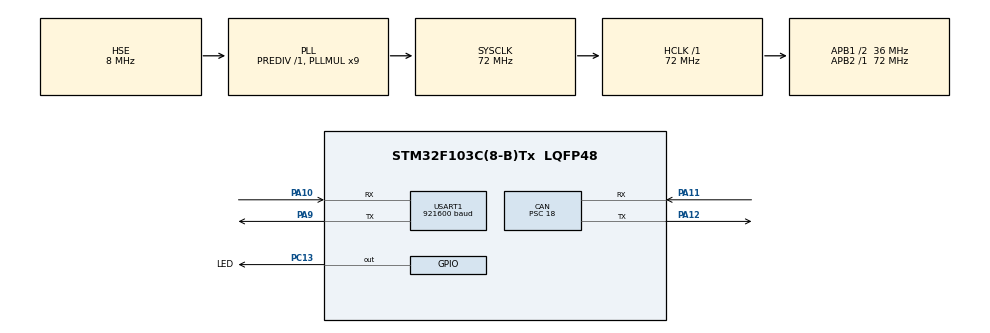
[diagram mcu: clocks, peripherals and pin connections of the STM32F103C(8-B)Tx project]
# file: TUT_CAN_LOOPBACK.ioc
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CAN.BS1=CAN_BS1_2TQ
CAN.CalculateBaudRate=500000
CAN.CalculateTimeBit=2000
CAN.CalculateTimeQuantum=500.0
CAN.Mode=CAN_MODE_LOOPBACK
CAN.Prescaler=18
Mcu.Family=STM32F1
Mcu.Name=STM32F103C(8-B)Tx
Mcu.Package=LQFP48
NVIC.CAN1_RX1_IRQn=true\:0\:0\:false\:false\:true\:true\:true\:true
NVIC.PriorityGroup=NVIC_PRIORITYGROUP_4
NVIC.USB_LP_CAN1_RX0_IRQn=true\:0\:0\:false\:false\:true\:true\:true\:true
PA10.Mode=Asynchronous
PA10.Signal=USART1_RX
PA11.Mode=CAN_Activate
PA11.Signal=CAN_RX
PA12.Mode=CAN_Activate
PA12.Signal=CAN_TX
PA13.Mode=Serial_Wire
PA13.Signal=SYS_JTMS-SWDIO
PA14.Mode=Serial_Wire
PA14.Signal=SYS_JTCK-SWCLK
PA9.Mode=Asynchronous
PA9.Signal=USART1_TX
PC13-TAMPER-RTC.GPIO_Label=LED
PC13-TAMPER-RTC.Signal=GPIO_Output
PD0-OSC_IN.Mode=HSE-External-Oscillator
PD0-OSC_IN.Signal=RCC_OSC_IN
PD1-OSC_OUT.Mode=HSE-External-Oscillator
PD1-OSC_OUT.Signal=RCC_OSC_OUT
ProjectManager.HeapSize=0x200
ProjectManager.StackSize=0x400
ProjectManager.TargetToolchain=STM32CubeIDE
RCC.AHBFreq_Value=72000000
RCC.APB1CLKDivider=RCC_HCLK_DIV2
RCC.APB1Freq_Value=36000000
RCC.APB1TimFreq_Value=72000000
RCC.APB2Freq_Value=72000000
RCC.APB2TimFreq_Value=72000000
RCC.HCLKFreq_Value=72000000
RCC.PLLMUL=RCC_PLL_MUL9
RCC.PLLSourceVirtual=RCC_PLLSOURCE_HSE
RCC.SYSCLKFreq_VALUE=72000000
RCC.SYSCLKSource=RCC_SYSCLKSOURCE_PLLCLK
RCC.USBFreq_Value=72000000
USART1.BaudRate=921600
USART1.VirtualMode=VM_ASYNC
board=custom

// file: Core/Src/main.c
/* USER CODE BEGIN Header */
/**
  ******************************************************************************
  * @file           : main.c
  * @brief          : Main program body
  ******************************************************************************
  * @attention
  *
  * <h2><center>&copy; Copyright (c) 2021 STMicroelectronics.
  * All rights reserved.</center></h2>
  *
  * This software component is licensed by ST under BSD 3-Clause license,
  * the "License"; You may not use this file except in compliance with the
  * License. You may obtain a copy of the License at:
  *                        opensource.org/licenses/BSD-3-Clause
  *
  ******************************************************************************
  */
/* USER CODE END Header */
#include "main.h"

CAN_HandleTypeDef hcan;

UART_HandleTypeDef huart1;

/* USER CODE BEGIN PV */

CAN_TxHeaderTypeDef TxHeader;
CAN_RxHeaderTypeDef RxHeader;

uint32_t TxMailbox[4];

uint8_t TxData[8];
uint8_t RxData[8];

uint8_t count = 0;

/* USER CODE END PV */

void SystemClock_Config(void);
static void MX_GPIO_Init(void);
static void MX_CAN_Init(void);
static void MX_USART1_UART_Init(void);

/* USER CODE BEGIN 0 */

// Send printf to uart1
int _write(int fd, char* ptr, int len) {
  HAL_StatusTypeDef hstatus;

  if (fd == 1 || fd == 2) {
    hstatus = HAL_UART_Transmit(&huart1, (uint8_t *) ptr, len, HAL_MAX_DELAY);
    if (hstatus == HAL_OK)
      return len;
    else
      return -1;
  }
  return -1;
}

void HAL_CAN_RxFifo0MsgPendingCallback(CAN_HandleTypeDef *hcan)
{
    DBG("RxFifo0 Message Pending Callback");
	if (HAL_CAN_GetRxMessage(hcan, CAN_RX_FIFO0, &RxHeader, RxData) == HAL_OK) {
	    DBG("Got message - id = 0x%04lx len = 0x%lx", RxHeader.StdId, RxHeader.DLC);
	}
	count++;
}
/* USER CODE END 0 */

int main(void)
{

  /* MCU Configuration--------------------------------------------------------*/

  /* Reset of all peripherals, Initializes the Flash interface and the Systick. */
  HAL_Init();

  /* Configure the system clock */
  SystemClock_Config();

  /* Initialize all configured peripherals */
  MX_GPIO_Init();
  MX_CAN_Init();
  MX_USART1_UART_Init();
  /* USER CODE BEGIN 2 */

  DBG("\n\n\n--------\nStarting");

  HAL_CAN_Start(&hcan);

  HAL_CAN_ActivateNotification(&hcan, CAN_IT_RX_FIFO0_MSG_PENDING);

  TxHeader.DLC = 1;
  TxHeader.ExtId = 0;
  TxHeader.IDE = CAN_ID_STD;
  TxHeader.RTR = CAN_RTR_DATA;
  TxHeader.StdId = 0x101;
  TxHeader.TransmitGlobalTime = DISABLE;

  TxData[0] = 0x01;
  TxData[1] = 0x02;
  TxData[2] = 0x03;
  TxData[3] = 0x04;

  if (HAL_CAN_AddTxMessage(&hcan, &TxHeader, &TxData[0], &TxMailbox[0]) != HAL_OK)
  {
	  Error_Handler();
  }
  if (HAL_CAN_AddTxMessage(&hcan, &TxHeader, &TxData[1], &TxMailbox[1]) != HAL_OK)
  {
	  Error_Handler();
  }
  if (HAL_CAN_AddTxMessage(&hcan, &TxHeader, &TxData[2], &TxMailbox[2]) != HAL_OK)
  {
	  Error_Handler();
  }
//
//  if (HAL_CAN_AddTxMessage(&hcan, &TxHeader, &TxData[3], &TxMailbox[3]) != HAL_OK)
//  {
//	  Error_Handler();
//  }

  /* USER CODE END 2 */

  /* Infinite loop */
  /* USER CODE BEGIN WHILE */

  uint32_t now = 0, last_blink = 0, last_msg = 0;

  while (1)
  {

      now = HAL_GetTick();

      if (now - last_blink >= 500) {
          HAL_GPIO_TogglePin(LED_GPIO_Port, LED_Pin);
          last_blink = now;
      }

      if (now - last_msg >= 250) {

          last_msg = now;
      }

    /* USER CODE END WHILE */

  }
}

void SystemClock_Config(void)
{
  RCC_OscInitTypeDef RCC_OscInitStruct = {0};
  RCC_ClkInitTypeDef RCC_ClkInitStruct = {0};

  /** Initializes the RCC Oscillators according to the specified parameters
  * in the RCC_OscInitTypeDef structure.
  */
  RCC_OscInitStruct.OscillatorType = RCC_OSCILLATORTYPE_HSE;
  RCC_OscInitStruct.HSEState = RCC_HSE_ON;
  RCC_OscInitStruct.HSEPredivValue = RCC_HSE_PREDIV_DIV1;
  RCC_OscInitStruct.HSIState = RCC_HSI_ON;
  RCC_OscInitStruct.PLL.PLLState = RCC_PLL_ON;
  RCC_OscInitStruct.PLL.PLLSource = RCC_PLLSOURCE_HSE;
  RCC_OscInitStruct.PLL.PLLMUL = RCC_PLL_MUL9;
  if (HAL_RCC_OscConfig(&RCC_OscInitStruct) != HAL_OK)
  {
    Error_Handler();
  }

  /** Initializes the CPU, AHB and APB buses clocks
  */
  RCC_ClkInitStruct.ClockType = RCC_CLOCKTYPE_HCLK|RCC_CLOCKTYPE_SYSCLK
                              |RCC_CLOCKTYPE_PCLK1|RCC_CLOCKTYPE_PCLK2;
  RCC_ClkInitStruct.SYSCLKSource = RCC_SYSCLKSOURCE_PLLCLK;
  RCC_ClkInitStruct.AHBCLKDivider = RCC_SYSCLK_DIV1;
  RCC_ClkInitStruct.APB1CLKDivider = RCC_HCLK_DIV2;
  RCC_ClkInitStruct.APB2CLKDivider = RCC_HCLK_DIV1;

  if (HAL_RCC_ClockConfig(&RCC_ClkInitStruct, FLASH_LATENCY_2) != HAL_OK)
  {
    Error_Handler();
  }
}

static void MX_CAN_Init(void)
{

  hcan.Instance = CAN1;
  hcan.Init.Prescaler = 18;
  hcan.Init.Mode = CAN_MODE_LOOPBACK;
  hcan.Init.SyncJumpWidth = CAN_SJW_1TQ;
  hcan.Init.TimeSeg1 = CAN_BS1_2TQ;
  hcan.Init.TimeSeg2 = CAN_BS2_1TQ;
  hcan.Init.TimeTriggeredMode = DISABLE;
  hcan.Init.AutoBusOff = DISABLE;
  hcan.Init.AutoWakeUp = DISABLE;
  hcan.Init.AutoRetransmission = DISABLE;
  hcan.Init.ReceiveFifoLocked = DISABLE;
  hcan.Init.TransmitFifoPriority = DISABLE;
  if (HAL_CAN_Init(&hcan) != HAL_OK)
  {
    Error_Handler();
  }
  /* USER CODE BEGIN CAN_Init 2 */

  CAN_FilterTypeDef canfilterconfig;

  canfilterconfig.FilterActivation = CAN_FILTER_ENABLE;
  canfilterconfig.FilterBank = 10;  // anything between 0 to SlaveStartFilterBank
  canfilterconfig.FilterFIFOAssignment = CAN_RX_FIFO0;
  //canfilterconfig.FilterIdHigh = 0x103<<5;
  canfilterconfig.FilterIdHigh = 0x0000;
  canfilterconfig.FilterIdLow = 0x0000;
  //canfilterconfig.FilterMaskIdHigh = 0x1<<13;
  canfilterconfig.FilterMaskIdHigh = 0x0;
  canfilterconfig.FilterMaskIdLow = 0x0000;
  canfilterconfig.FilterMode = CAN_FILTERMODE_IDMASK;
  canfilterconfig.FilterScale = CAN_FILTERSCALE_32BIT;
  canfilterconfig.SlaveStartFilterBank = 13;  // 13 to 27 are assigned to slave CAN (CAN 2) OR 0 to 12 are assgned to CAN1

  HAL_CAN_ConfigFilter(&hcan, &canfilterconfig);

  /* USER CODE END CAN_Init 2 */

}

static void MX_USART1_UART_Init(void)
{

  huart1.Instance = USART1;
  huart1.Init.BaudRate = 921600;
  huart1.Init.WordLength = UART_WORDLENGTH_8B;
  huart1.Init.StopBits = UART_STOPBITS_1;
  huart1.Init.Parity = UART_PARITY_NONE;
  huart1.Init.Mode = UART_MODE_TX_RX;
  huart1.Init.HwFlowCtl = UART_HWCONTROL_NONE;
  huart1.Init.OverSampling = UART_OVERSAMPLING_16;
  if (HAL_UART_Init(&huart1) != HAL_OK)
  {
    Error_Handler();
  }

}

static void MX_GPIO_Init(void)
{
  GPIO_InitTypeDef GPIO_InitStruct = {0};

  /* GPIO Ports Clock Enable */
  __HAL_RCC_GPIOC_CLK_ENABLE();
  __HAL_RCC_GPIOD_CLK_ENABLE();
  __HAL_RCC_GPIOA_CLK_ENABLE();

  /*Configure GPIO pin Output Level */
  HAL_GPIO_WritePin(LED_GPIO_Port, LED_Pin, GPIO_PIN_RESET);

  /*Configure GPIO pin : LED_Pin */
  GPIO_InitStruct.Pin = LED_Pin;
  GPIO_InitStruct.Mode = GPIO_MODE_OUTPUT_PP;
  GPIO_InitStruct.Pull = GPIO_NOPULL;
  GPIO_InitStruct.Speed = GPIO_SPEED_FREQ_LOW;
  HAL_GPIO_Init(LED_GPIO_Port, &GPIO_InitStruct);

}

void Error_Handler(void)
{
  __disable_irq();
  while (1)
  {
  }
}
